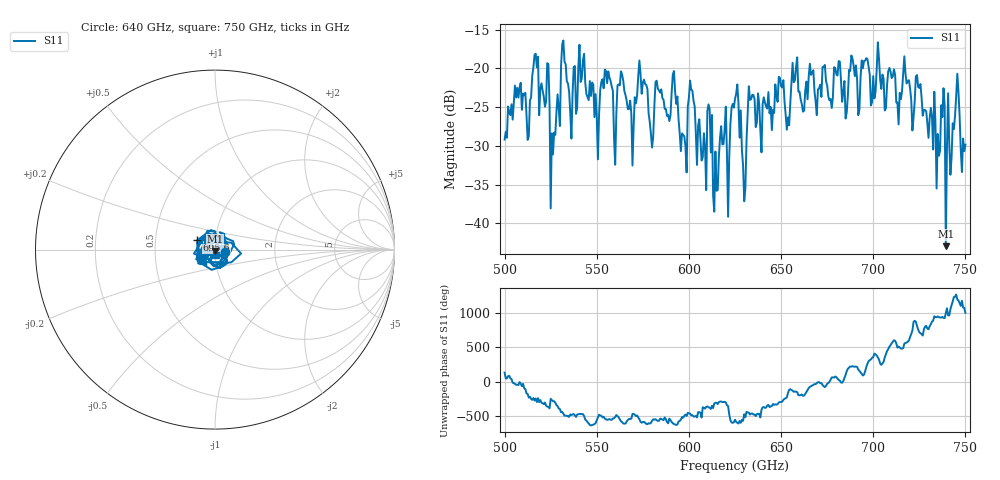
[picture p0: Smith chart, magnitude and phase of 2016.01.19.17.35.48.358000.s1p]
!Created with skrf (http://scikit-rf.org).
# GHz S RI R 50.0
!freq ReS11 ImS11
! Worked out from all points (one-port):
!   401 points, 500 GHz to 750 GHz, reference 50 ohm
!   lowest |S11| = -43.0 dB at 739.4 GHz (marker M1), VSWR 1.01, Z = 50.1 - j0.71 ohm
!   |S11| at or under -10 dB: start of sweep to end of sweep
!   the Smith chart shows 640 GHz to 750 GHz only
!   S11 on the Smith chart (normalised r, x): 640 GHz: 1.12, -0.03; 695.6 GHz: 0.82, +0.09; 750 GHz: 1.01, -0.06
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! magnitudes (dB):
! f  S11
! 500 GHz  -29.2
! 513.1 GHz  -28.8
! 516.9 GHz  -18.1
! 526.2 GHz  -31.1
! 531.2 GHz  -16.9
! 550 GHz  -26.4
! 562.5 GHz  -22.2
! 568.8 GHz  -25.8
! 573.8 GHz  -20.8
! 579.4 GHz  -28.5
! 583.1 GHz  -22.6
! 593.8 GHz  -23.6
! 597.5 GHz  -28.8
! 601.9 GHz  -22.9
! 608.1 GHz  -28.4
! 611.2 GHz  -25.3
! 614.4 GHz  -30.7
! 625 GHz  -24.0
! 630 GHz  -37.2
! 633.8 GHz  -24.0
! 640 GHz  -24.6
! 656.2 GHz  -19.3
! 687.5 GHz  -20.4
! 695.6 GHz  -19.0
! 718.8 GHz  -21.6
! 739.4 GHz  -43.0
! 745.6 GHz  -20.7
! 750 GHz  -29.9
